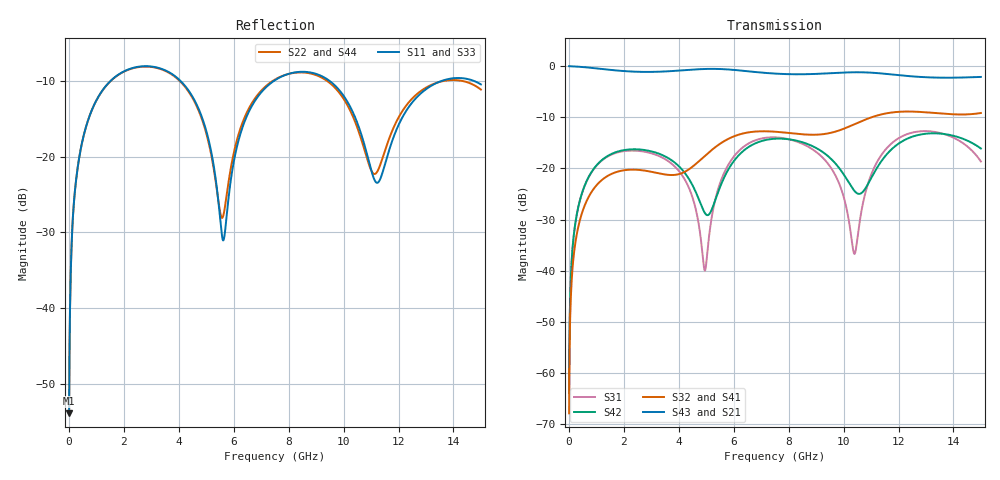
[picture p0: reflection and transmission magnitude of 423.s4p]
! Created with skrf 1.8.0 (http://scikit-rf.org).
# GHz S RI R 50.0
!freq ReS11 ImS11 ReS12 ImS12 ReS13 ImS13
! ReS14 ImS14
! ReS21 ImS21 ReS22 ImS22 ReS23 ImS23
! ReS24 ImS24
! ReS31 ImS31 ReS32 ImS32 ReS33 ImS33
! ReS34 ImS34
! ReS41 ImS41 ReS42 ImS42 ReS43 ImS43
! ReS44 ImS44
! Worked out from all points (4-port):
!   2499 points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, 5 MHz to 15 GHz, reference 50 ohm
!   strongest paths, dB at 5 MHz, 3.476 GHz, 7.19 GHz, 11.1 GHz, 15 GHz:
!     S43: 0.0, -1.1, -1.3, -1.3, -2.1
!     S21: 0.0, -1.1, -1.4, -1.3, -2.1
!     S32: -67.9, -21.2, -12.8, -9.9, -9.2
!     S41: -67.9, -21.2, -12.8, -9.9, -9.2
!     S42: -64.0, -17.6, -14.4, -21.0, -16.1
!     S31: -64.0, -18.1, -14.0, -20.0, -18.7
!   lowest |S11| = -53.9 dB at 5 MHz (marker M1), VSWR 1.00, Z = 50.2 + j0.123 ohm
!   |S11| at or under -10 dB: start of sweep to 1.509 GHz; 4.068 GHz to 7.453 GHz (3.386 GHz wide, 58.8 % of centre); 9.498 GHz to 13.56 GHz (4.057 GHz wide, 35.2 % of centre) (the widest 3 of 4)
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0.005  0.00161 0.00122  0.9984 -0.00313  8.02e-05 0.000628  -7.8e-05 -0.000395
       0.9984 -0.00313  0.00161 0.00122  -7.8e-05 -0.000395  8.03e-05 0.000628
       8.02e-05 0.000628  -7.8e-05 -0.000395  0.00161 0.00122  0.9984 -0.00313
       -7.8e-05 -0.000395  8.03e-05 0.000628  0.9984 -0.00313  0.00161 0.00122
0.3126303  0.0233 0.0806  0.9683 -0.1948  0.0102 0.0374  -0.00874 -0.0233
           0.9683 -0.1948  0.0232 0.0806  -0.00874 -0.0233  0.0107 0.0373
           0.0102 0.0374  -0.00874 -0.0233  0.0233 0.0806  0.9683 -0.1948
           -0.00874 -0.0233  0.0107 0.0373  0.9683 -0.1948  0.0232 0.0806
1.519383  0.2593 0.1834  0.576 -0.714  0.1174 0.0673  -0.0869 -0.0107
          0.576 -0.714  0.2572 0.1846  -0.0869 -0.0107  0.1239 0.0591
          0.1174 0.0673  -0.0869 -0.0107  0.2593 0.1834  0.5761 -0.714
          -0.0869 -0.0107  0.1239 0.0591  0.5761 -0.714  0.2572 0.1846
5.421009  0.0298 -0.0457  -0.9255 -0.1508  0.013 0.0601  -0.0246 0.1663
          -0.9255 -0.1508  0.0408 -0.0358  -0.0254 0.1663  -0.0293 0.0496
          0.013 0.0601  -0.0254 0.1663  0.0282 -0.0459  -0.9255 -0.151
          -0.0246 0.1663  -0.0293 0.0496  -0.9255 -0.151  0.0424 -0.0356
8.728637  0.3586 -0.0492  0.0305 0.8332  0.1435 -0.0748  0.2008 -0.0726
          0.0305 0.8332  0.3537 -0.048  0.2011 -0.0717  0.1399 -0.0989
          0.1435 -0.0748  0.2011 -0.0717  0.3574 -0.0476  0.0301 0.8338
          0.2008 -0.0726  0.1399 -0.0989  0.0301 0.8338  0.3523 -0.049
10.39808  0.1259 -0.1368  0.7088 0.5047  -0.0141 -0.0036  0.15 -0.2248
          0.7088 0.5047  0.1267 -0.1195  0.1517 -0.2238  -0.0498 -0.0337
          -0.0141 -0.0036  0.1517 -0.2238  0.1232 -0.1361  0.709 0.505
          0.15 -0.2248  -0.0498 -0.0337  0.709 0.505  0.1273 -0.1171
15  0.2794 -0.1112  -0.224 -0.7501  0.0633 -0.0981  -0.3183 0.1383
    -0.224 -0.7501  0.2608 -0.0963  -0.3197 0.1369  0.0426 -0.1506
    0.0633 -0.0981  -0.3197 0.1369  0.2797 -0.103  -0.2227 -0.7512
    -0.3183 0.1383  0.0426 -0.1506  -0.2227 -0.7512  0.2572 -0.1021
